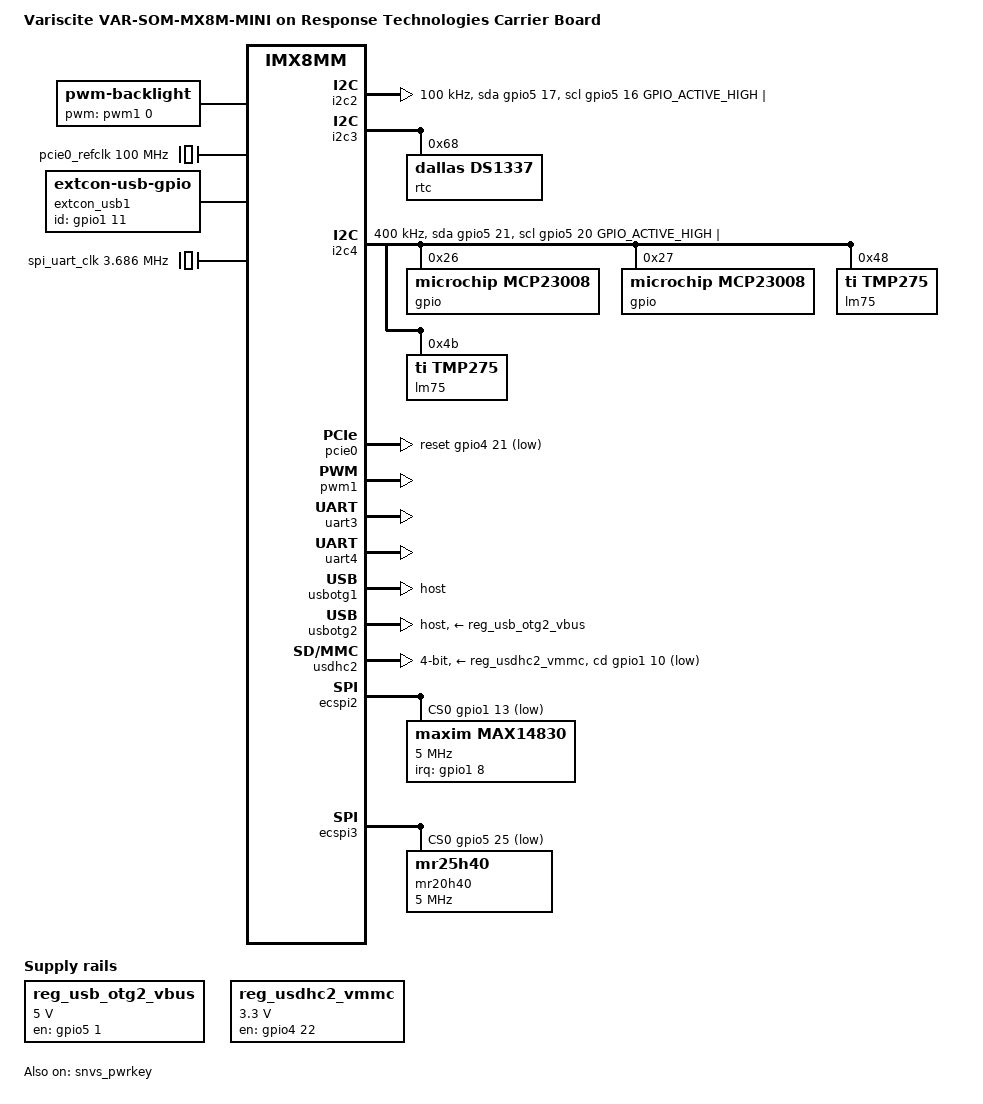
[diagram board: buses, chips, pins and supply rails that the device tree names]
// SPDX-License-Identifier: (GPL-2.0+ OR MIT)
/*
 * Copyright 2019 NXP
 * Copyright 2019-2020 Variscite Ltd.
 */

/dts-v1/;

#include <dt-bindings/usb/pd.h>
#include "imx8mm-var-som.dtsi"

/ {
	model = "Variscite VAR-SOM-MX8M-MINI on Response Technologies Carrier Board";
	compatible = "variscite,dart-mx8mm", "fsl,imx8mm";

	chosen {
		stdout-path = &uart4;
	};

	backlight: backlight {
		compatible = "pwm-backlight";
		pwms = <&pwm1 0 1000000 0>;
		brightness-levels = < 0  1  2  3  4  5  6  7  8  9
				     10 11 12 13 14 15 16 17 18 19
				     20 21 22 23 24 25 26 27 28 29
				     30 31 32 33 34 35 36 37 38 39
				     40 41 42 43 44 45 46 47 48 49
				     50 51 52 53 54 55 56 57 58 59
				     60 61 62 63 64 65 66 67 68 69
				     70 71 72 73 74 75 76 77 78 79
				     80 81 82 83 84 85 86 87 88 89
				     90 91 92 93 94 95 96 97 98 99
				    100>;
		default-brightness-level = <80>;
		status = "okay";
	};

	pcie0_refclk: pcie0-refclk {
		compatible = "fixed-clock";
		#clock-cells = <0>;
		clock-frequency = <100000000>;
	};

	reg_usb_otg2_vbus: regulator-usb-otg2-vbus {
		compatible = "regulator-fixed";
		pinctrl-names = "default", "sleep";
		pinctrl-0 = <&pinctrl_usbotg2>;
		pinctrl-1 = <&pinctrl_usbotg2_sleep>;
		regulator-name = "usb_otg2_vbus";
		regulator-min-microvolt = <5000000>;
		regulator-max-microvolt = <5000000>;
		gpio = <&gpio5 1 GPIO_ACTIVE_HIGH>;
		enable-active-high;
	};

	reg_usdhc2_vmmc: regulator-usdhc2 {
		compatible = "regulator-fixed";
		pinctrl-names = "default";
		pinctrl-0 = <&pinctrl_reg_usdhc2_vmmc>;
		regulator-name = "VSD_3V3";
		regulator-min-microvolt = <3300000>;
		regulator-max-microvolt = <3300000>;
		gpio = <&gpio4 22 GPIO_ACTIVE_HIGH>;
		off-on-delay = <20000>;
		enable-active-high;
	};

	extcon_usb1: extcon_usb1 {
		compatible = "linux,extcon-usb-gpio";
		pinctrl-names = "default";
		pinctrl-0 = <&pinctrl_extcon>;
		id-gpio = <&gpio1 11 GPIO_ACTIVE_HIGH>;
		status = "okay";
	};
};

&iomuxc {
	pinctrl_captouch: captouchgrp {
		fsl,pins = <
			MX8MM_IOMUXC_SPDIF_RX_GPIO5_IO4			0x16
		>;
	};

	pinctrl_spi_max14830: spi_max14830grp {
		fsl,pins = <
                        MX8MM_IOMUXC_ECSPI2_SCLK_ECSPI2_SCLK       0x00000012    /* SOM pin 75, Ball E6, Symphony J17:6 - Unused bits 31-9, 0b0(Pull Resistor=Off), 0b0(Hysteresis=Off), 0b0(Pull Direction=Down), 0b0(Open Drain=Off), 0b10(Slew=Fast), 0b01x(DSE=X4) */
                        MX8MM_IOMUXC_ECSPI2_MISO_ECSPI2_MISO       0x00000012    /* SOM pin 77, Ball A8, Symphony J17:8 - Unused bits 31-9, 0b0(Pull Resistor=Off), 0b0(Hysteresis=Off), 0b0(Pull Direction=Down), 0b0(Open Drain=Off), 0b10(Slew=Fast), 0b01x(DSE=X4) */
                        MX8MM_IOMUXC_ECSPI2_MOSI_ECSPI2_MOSI       0x00000012    /* SOM pin 70, Ball B8, Symphony J17:4 - Unused bits 31-9, 0b0(Pull Resistor=Off), 0b0(Hysteresis=Off), 0b0(Pull Direction=Down), 0b0(Open Drain=Off), 0b10(Slew=Fast), 0b01x(DSE=X4) */ 
                        MX8MM_IOMUXC_GPIO1_IO13_GPIO1_IO13         0x000001d4    /* CS - SOM pin 40, Ball AD9, Symphony J17:2 - Unused 0b1(Pull Resistor=On), 0b1(Hysteresis=On), 0b1(Pull Direction=Up), 0b0(Open Drain=Off), 0b10(Slew=Fast), 0b10x(DSE=X2) */
		>;
	};
       
	pinctrl_max14830: max14830grp {
		fsl,pins = <
                        MX8MM_IOMUXC_GPIO1_IO08_GPIO1_IO8          0x000001d0    /* IRQ - SOM pin 117, Ball AG10, Symphony J17:7 - Unused bits 31-9, 0b1(Pull Resistor=On), 0b1(Hysteresis=On), 0b1(Pull Direction=Up), 0b0(Open Drain=Off), 0b10(Slew=Fast), 0b00x(DSE=X1) */
		>;
	};


	pinctrl_spi_mr20h40: spi_mr20h40grp {
		fsl,pins = <
                        MX8MM_IOMUXC_UART2_RXD_ECSPI3_MISO         0x00000014    /* Som pin 115, Ball F15, Symphony J18:9 - Unused bits 31-9, 0b0(Pull Resistor=Off), 0b0(Hysteresis=Off), 0b0(Pull Direction=Down), 0b0(Open Drain=Off), 0b10(Slew=Fast), 0b10x(DSE=X2) */
                        MX8MM_IOMUXC_UART1_TXD_ECSPI3_MOSI         0x00000014    /* Som pin 56,  Ball F13, Symphony J30:4 - Unused bits 31-9, 0b0(Pull Resistor=Off), 0b0(Hysteresis=Off), 0b0(Pull Direction=Down), 0b0(Open Drain=Off), 0b10(Slew=Fast), 0b10x(DSE=X2) */
                        MX8MM_IOMUXC_UART1_RXD_ECSPI3_SCLK         0x00000014    /* Som pin 54,  Ball E14, Symphony J30:18 - Unused bits 31-9, 0b0(Pull Resistor=Off), 0b0(Hysteresis=Off), 0b0(Pull Direction=Down), 0b0(Open Drain=Off), 0b10(Slew=Fast), 0b10x(DSE=X2) */
                        MX8MM_IOMUXC_UART2_TXD_GPIO5_IO25          0x000001f4    /* CS - Som pin 171, Ball E16, Symphony J18:7 - Unused bits 31-9, 0b1(Pull Resistor=On), 0b1(Hysteresis=On), 0b1(Pull Direction=Up), 0b1(Open Drain=On), 0b10(Slew=Fast), 0b10x(DSE=X2) */
		>;
	};


	pinctrl_i2c2: i2c2grp {
		fsl,pins = <
			MX8MM_IOMUXC_I2C2_SCL_I2C2_SCL			0x400001c3
			MX8MM_IOMUXC_I2C2_SDA_I2C2_SDA			0x400001c3
		>;
	};

	pinctrl_i2c4: i2c4grp {
		fsl,pins = <
			MX8MM_IOMUXC_I2C4_SCL_I2C4_SCL			0x400001c3
			MX8MM_IOMUXC_I2C4_SDA_I2C4_SDA			0x400001c3
		>;
	};

	pinctrl_i2c2_gpio: i2c2grp-gpio {
		fsl,pins = <
			MX8MM_IOMUXC_I2C2_SCL_GPIO5_IO16		0x1c3
			MX8MM_IOMUXC_I2C2_SDA_GPIO5_IO17		0x1c3
		>;
	};

        pinctrl_mcp23008_u9_irq: mcp23008_u9-irq-gpio {
                fsl,pins = < >;
        };

	pinctrl_i2c4_gpio: i2c4grp-gpio {
		fsl,pins = <
			MX8MM_IOMUXC_I2C4_SCL_GPIO5_IO20		0x1c3
			MX8MM_IOMUXC_I2C4_SDA_GPIO5_IO21		0x1c3
		>;
	};

	pinctrl_pcie0: pcie0grp {
		fsl,pins = <
			MX8MM_IOMUXC_SAI2_RXFS_GPIO4_IO21		0x41
		>;
	};

	pinctrl_pwm1: pwm1grp {
		fsl,pins = <
			MX8MM_IOMUXC_SPDIF_EXT_CLK_PWM1_OUT		0x06
		>;
	};

	pinctrl_uart3: uart3grp {
		fsl,pins = <
			MX8MM_IOMUXC_UART3_RXD_UART3_DCE_RX		0x140
			MX8MM_IOMUXC_UART3_TXD_UART3_DCE_TX		0x140
		>;
	};

	pinctrl_uart4: uart4grp {
		fsl,pins = <
			MX8MM_IOMUXC_UART4_RXD_UART4_DCE_RX		0x140
			MX8MM_IOMUXC_UART4_TXD_UART4_DCE_TX		0x140
		>;
	};

	pinctrl_usdhc2_gpio: usdhc2grpgpio {
		fsl,pins = <
			MX8MM_IOMUXC_GPIO1_IO10_GPIO1_IO10		0xc1
		>;
	};

	pinctrl_reg_usdhc2_vmmc: regusdhc2vmmc {
		fsl,pins = <
			MX8MM_IOMUXC_SAI2_RXC_GPIO4_IO22		0x41
		>;
	};

	pinctrl_usbotg2: usbotg2grp {
		fsl,pins = <
			MX8MM_IOMUXC_SAI3_TXD_GPIO5_IO1			0x16
		>;
	};

	pinctrl_usbotg2_sleep: usbotg2grpsleep {
		fsl,pins = <
			MX8MM_IOMUXC_SAI3_TXD_GPIO5_IO1			0x120
		>;
	};


	pinctrl_usdhc2: usdhc2grp {
		fsl,pins = <
			MX8MM_IOMUXC_SD2_CLK_USDHC2_CLK			0x190
			MX8MM_IOMUXC_SD2_CMD_USDHC2_CMD			0x1d0
			MX8MM_IOMUXC_SD2_DATA0_USDHC2_DATA0		0x1d0
			MX8MM_IOMUXC_SD2_DATA1_USDHC2_DATA1		0x1d0
			MX8MM_IOMUXC_SD2_DATA2_USDHC2_DATA2		0x1d0
			MX8MM_IOMUXC_SD2_DATA3_USDHC2_DATA3		0x1d0
			MX8MM_IOMUXC_GPIO1_IO04_USDHC2_VSELECT		0x1d0
		>;
	};

	pinctrl_usdhc2_100mhz: usdhc2grp100mhz {
		fsl,pins = <
			MX8MM_IOMUXC_SD2_CLK_USDHC2_CLK			0x194
			MX8MM_IOMUXC_SD2_CMD_USDHC2_CMD			0x1d4
			MX8MM_IOMUXC_SD2_DATA0_USDHC2_DATA0		0x1d4
			MX8MM_IOMUXC_SD2_DATA1_USDHC2_DATA1		0x1d4
			MX8MM_IOMUXC_SD2_DATA2_USDHC2_DATA2		0x1d4
			MX8MM_IOMUXC_SD2_DATA3_USDHC2_DATA3		0x1d4
			MX8MM_IOMUXC_GPIO1_IO04_USDHC2_VSELECT		0x1d0
		>;
	};

	pinctrl_usdhc2_200mhz: usdhc2grp200mhz {
		fsl,pins = <
			MX8MM_IOMUXC_SD2_CLK_USDHC2_CLK			0x196
			MX8MM_IOMUXC_SD2_CMD_USDHC2_CMD			0x1d6
			MX8MM_IOMUXC_SD2_DATA0_USDHC2_DATA0		0x1d6
			MX8MM_IOMUXC_SD2_DATA1_USDHC2_DATA1		0x1d6
			MX8MM_IOMUXC_SD2_DATA2_USDHC2_DATA2		0x1d6
			MX8MM_IOMUXC_SD2_DATA3_USDHC2_DATA3		0x1d6
			MX8MM_IOMUXC_GPIO1_IO04_USDHC2_VSELECT		0x1d0
		>;
	};

	pinctrl_extcon: extcongrp {
		fsl,pins = <
			MX8MM_IOMUXC_GPIO1_IO11_GPIO1_IO11		0x16
		>;
	};
};

&i2c2 {
	clock-frequency = <100000>;
	pinctrl-names = "default", "gpio";
	pinctrl-0 = <&pinctrl_i2c2>;
	pinctrl-1 = <&pinctrl_i2c2_gpio>;
	scl-gpios = <&gpio5 16 GPIO_ACTIVE_HIGH | GPIO_OPEN_DRAIN>;
	sda-gpios = <&gpio5 17 GPIO_ACTIVE_HIGH>;
	status = "okay";
};

&i2c3 {
	/* DS1337 RTC module */
	rtc@68 {
		compatible = "dallas,ds1337";
		reg = <0x68>;
		status = "okay";
	};
};

&i2c4 {
	clock-frequency = <400000>;
	pinctrl-names = "default", "gpio";
	pinctrl-0 = <&pinctrl_i2c4>;
	pinctrl-1 = <&pinctrl_i2c4_gpio>;
	scl-gpios = <&gpio5 20 GPIO_ACTIVE_HIGH | GPIO_OPEN_DRAIN>;
	sda-gpios = <&gpio5 21 GPIO_ACTIVE_HIGH>;
	status = "okay";

        gpio@26 {
                compatible = "microchip,mcp23008";
                reg = <0x26>;
                gpio-controller;
                #gpio-cells = <2>;
                
                line_gp0 {
                        gpio-hog;
                        gpios = <0 1>;
                        output-high;
                        line-name = "hub1_vbus_detect";
                };
                line_gp1 {
                        gpio-hog;
                        gpios = <1 1>;
                        output-high;
                        line-name = "hub2_vbus_detect";
                };
                line_gp2 {
                        gpio-hog;
                        gpios = <2 0>;
                        output-high;
                        line-name = "amp_off";
                };
                line_gp5 {
                        gpio-hog;
                        gpios = <5 0>;
                        input;
                        line-name = "tamper"
                };   
        };
	
        gpio@27 {
                compatible = "microchip,mcp23008";
                reg = <0x27>;
                gpio-controller;
                #gpio-cells = <2>;
                line_gp0 {
                        gpio-hog;
                        gpios = <0 1>;
                        output-high;
                        line-name = "usb_pwr1";
                };
                line_gp1 {
                        gpio-hog;
                        gpios = <1 1>;
                        output-high;
                        line-name = "usb_pwr2";
                };
                line_gp2 {
                        gpio-hog;
                        gpios = <2 1>;
                        output-high;
                        line-name = "usb_pwr3";
                };
                line_gp3 {
                        gpio-hog;
                        gpios = <3 1>;
                        output-high;
                        line-name = "usb_pwr4";
                };
                line_gp4 {
                        gpio-hog;
                        gpios = <4 1>;
                        output-high;
                        line-name = "usb_pwr5";
                };
                line_gp5 {
                        gpio-hog;
                        gpios = <5 1>;
                        output-high;
                        line-name = "usb_pwr6";
                };
                line_gp6 {
                        gpio-hog;
                        gpios = <6 1>;
                        output-high;
                        line-name = "usb_pwr7";
                };
                line_gp7 {
                        gpio-hog;
                        gpios = <7 1>;
                        output-high;
                        line-name = "usb_pwr8";
                };
        };

	lm75@48 {
		compatible = "ti,tmp275";
		reg = <0x48>;
		status = "okay";
	};

	lm75@4b {
		compatible = "ti,tmp275";
		reg = <0x4b>;
		status = "okay";
	};
};

&pcie0{
	pinctrl-names = "default";
	pinctrl-0 = <&pinctrl_pcie0>;
	reset-gpio = <&gpio4 21 GPIO_ACTIVE_LOW>;
	clocks = <&clk IMX8MM_CLK_PCIE1_ROOT>,
		 <&clk IMX8MM_CLK_PCIE1_AUX>,
		 <&clk IMX8MM_CLK_PCIE1_PHY>,
		 <&pcie0_refclk>;
	clock-names = "pcie", "pcie_aux", "pcie_phy", "pcie_bus";
	ext_osc = <1>;
	status = "okay";
};

&pwm1 {
	status = "okay";
	pinctrl-names = "default";
	pinctrl-0 = <&pinctrl_pwm1>;
};

&snvs_pwrkey {
	status = "okay";
};

&snvs_rtc {
	status = "disabled";
};

/* Header */
&uart3 {
	pinctrl-names = "default";
	pinctrl-0 = <&pinctrl_uart3>;
	status = "okay";
};

/* Console */
&uart4 {
	pinctrl-names = "default";
	pinctrl-0 = <&pinctrl_uart4>;
	status = "okay";
};

&usbotg1 {
	dr_mode = "host";
	picophy,pre-emp-curr-control = <3>;
	picophy,dc-vol-level-adjust = <7>;
	srp-disable;
	hnp-disable;
	adp-disable;
	disable-over-current;
	status = "okay";
};

&usbotg2 {
	dr_mode = "host";
	vbus-supply = <&reg_usb_otg2_vbus>;
	picophy,pre-emp-curr-control = <3>;
	picophy,dc-vol-level-adjust = <7>;
	srp-disable;
	hnp-disable;
	adp-disable;
	disable-over-current;
	status = "okay";
};

/* SD */
&usdhc2 {
	pinctrl-names = "default", "state_100mhz", "state_200mhz";
	pinctrl-0 = <&pinctrl_usdhc2>, <&pinctrl_usdhc2_gpio>;
	pinctrl-1 = <&pinctrl_usdhc2_100mhz>, <&pinctrl_usdhc2_gpio>;
	pinctrl-2 = <&pinctrl_usdhc2_200mhz>, <&pinctrl_usdhc2_gpio>;
	cd-gpios = <&gpio1 10 GPIO_ACTIVE_LOW>;
	bus-width = <4>;
	vmmc-supply = <&reg_usdhc2_vmmc>;
	status = "okay";
};

/ { 
        clocks {
                spi_uart_clk: osc_max14830 {
                        compatible = "fixed-clock";
                        #clock-cells = <0>;
                        clock-frequency = <3686400>;
                };
        };
};

	
&ecspi2 {
	pinctrl-names = "default";
	pinctrl-0 = <&pinctrl_spi_max14830>;
	cs-gpios = <&gpio1 13 GPIO_ACTIVE_LOW>;
	status = "okay";

        max14830: max14830@0 {
                compatible = "maxim,max14830";
                reg = <0>;
                status = "okay";
                clocks = <&spi_uart_clk>;
                clock-names = "xtal";
                spi-max-frequency = <5000000>;
                pinctrl-names = "default";
                pinctrl-0 = <&pinctrl_max14830>;
                interrupt-parent = <&gpio1>;
                interrupts = <8 IRQ_TYPE_LEVEL_LOW>;
                gpio-controller;
                #gpio-cells = <2>;
        };
};


&ecspi3 {
	pinctrl-names = "default";
	pinctrl-0 = <&pinctrl_spi_mr20h40>;
	cs-gpios = <&gpio5 25 GPIO_ACTIVE_LOW>;
	status = "okay";

        mr20h40: mr20h40@0 {
                compatible = "mr25h40"; 
                #address-cells = <1>;
                #size-cells = <1>;
                reg = <0>;
                spi-max-frequency = <5000000>;
                status = "okay";
        };                          
};
